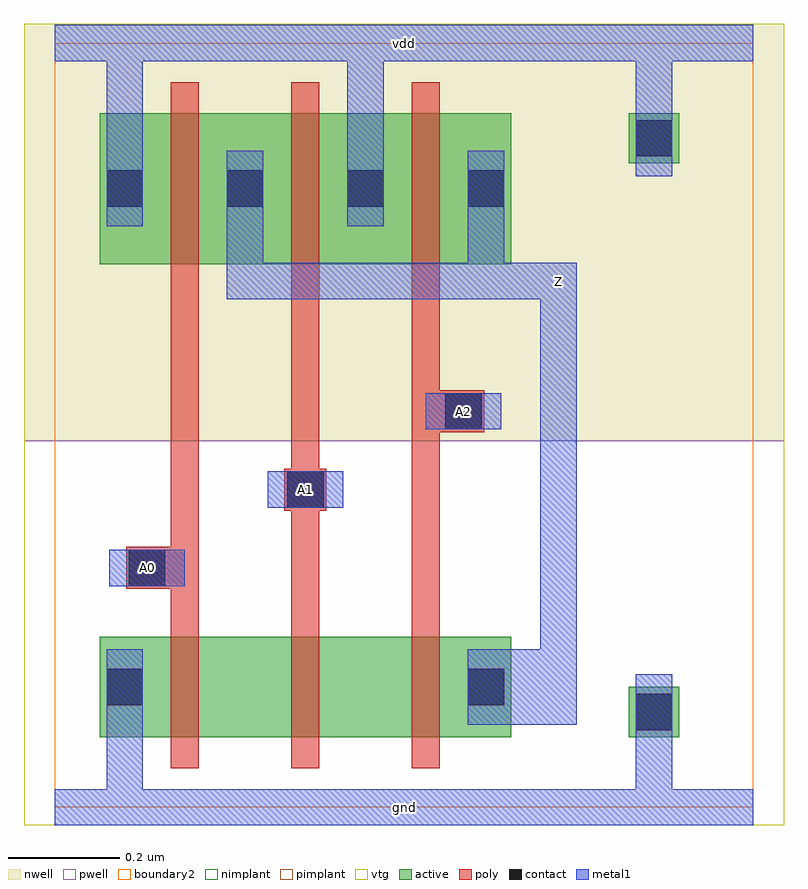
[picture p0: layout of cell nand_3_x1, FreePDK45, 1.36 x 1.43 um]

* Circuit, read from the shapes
.subckt nand_3_x1 A0 A1 A2 Z gnd vdd
M1 sram_1rw0r0w_8_256_freepdk45_nmos_m1_w0_180_sm1_dactive_3/A3 A0 gnd gnd nfet w=0.18u l=0.05u
M2 sram_1rw0r0w_8_256_freepdk45_nmos_m1_w0_180_sactive_dactive_4/A3 A1 sram_1rw0r0w_8_256_freepdk45_nmos_m1_w0_180_sm1_dactive_3/A3 gnd nfet w=0.18u l=0.05u
M3 Z A2 sram_1rw0r0w_8_256_freepdk45_nmos_m1_w0_180_sactive_dactive_4/A3 gnd nfet w=0.18u l=0.05u
M4 Z A0 vdd vdd pfet w=0.27u l=0.05u
M5 vdd A1 Z vdd pfet w=0.27u l=0.05u
M6 Z A2 vdd vdd pfet w=0.27u l=0.05u
.ends

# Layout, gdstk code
import gdstk
lib = gdstk.Library(unit=1e-6, precision=5e-10)
def R(c, l, rs):  # rectangles x0, y0, x1, y1
    for r in rs: c.add(gdstk.rectangle(r[:2], r[2:], *l))
def A(c, l, x, y, w, h, nx, ny, dx, dy):  # array of equal rectangles
    R(c, l, [(x+i*dx, y+j*dy, x+i*dx+w, y+j*dy+h) for i in range(nx) for j in range(ny)])
active = (1, 0)
pwell = (2, 0)
nwell = (3, 0)
nimplant = (4, 0)
pimplant = (5, 0)
vtg = (6, 0)
poly = (9, 0)
contact = (10, 0)
metal1 = (11, 0)
boundary2 = (239, 0)

sram_1rw0r0w_8_256_freep = lib.new_cell('sram_1rw0r0w_8_256_freepdk45_contact_11')
R(sram_1rw0r0w_8_256_freep, active, [(0,0.0225,0.09,0.1125)])
R(sram_1rw0r0w_8_256_freep, nwell, [(-0.055,-0.0325,0.145,0.1675)])
R(sram_1rw0r0w_8_256_freep, pimplant, [(0,0.0225,0.09,0.1125)])
R(sram_1rw0r0w_8_256_freep, contact, [(0.0125,0.035,0.0775,0.1)])
R(sram_1rw0r0w_8_256_freep, metal1, [(0.0125,0,0.0775,0.135)])
R(sram_1rw0r0w_8_256_freep, boundary2, [(-0.055,-0.0325,0.145,0.1675)])

c_sram_1rw0r0w_8_256_freep = lib.new_cell('sram_1rw0r0w_8_256_freepdk45_pmos_m1_w0_270_sm1_dm1')
R(c_sram_1rw0r0w_8_256_freep, active, [(0,0,0.305,0.27)])
R(c_sram_1rw0r0w_8_256_freep, nwell, [(-0.08,-0.08,0.385,0.35)])
R(c_sram_1rw0r0w_8_256_freep, pimplant, [(0,0,0.305,0.27)])
R(c_sram_1rw0r0w_8_256_freep, vtg, [(-0.08,-0.08,0.385,0.35)])
R(c_sram_1rw0r0w_8_256_freep, poly, [(0.1275,-0.055,0.1775,0.325), (0.1275,-0.055,0.1775,0.325)])
R(c_sram_1rw0r0w_8_256_freep, metal1, [(0.0125,0.0675,0.0775,0.2025), (0.2275,0.0675,0.2925,0.2025)])
R(c_sram_1rw0r0w_8_256_freep, boundary2, [(-0.08,-0.08,0.385,0.35)])
c_sram_1rw0r0w_8_256_freep.add(gdstk.Reference(sram_1rw0r0w_8_256_freep, (0,0.0675)))
c_sram_1rw0r0w_8_256_freep.add(gdstk.Reference(sram_1rw0r0w_8_256_freep, (0.215,0.0675)))
c_sram_1rw0r0w_8_256_freep.add(gdstk.Label('G', (0.1525,0.135), layer=9, texttype=0))
c_sram_1rw0r0w_8_256_freep.add(gdstk.Label('S', (0.045,0.135), layer=11, texttype=0))
c_sram_1rw0r0w_8_256_freep.add(gdstk.Label('A3', (0.26,0.135), layer=11, texttype=0))

c_sram_1rw0r0w_8_256_freep_ = lib.new_cell('sram_1rw0r0w_8_256_freepdk45_contact_10')
R(c_sram_1rw0r0w_8_256_freep_, active, [(0,0.0225,0.09,0.1125)])
R(c_sram_1rw0r0w_8_256_freep_, pwell, [(-0.055,-0.0325,0.145,0.1675)])
R(c_sram_1rw0r0w_8_256_freep_, nimplant, [(0,0.0225,0.09,0.1125)])
R(c_sram_1rw0r0w_8_256_freep_, contact, [(0.0125,0.035,0.0775,0.1)])
R(c_sram_1rw0r0w_8_256_freep_, metal1, [(0.0125,0,0.0775,0.135)])
R(c_sram_1rw0r0w_8_256_freep_, boundary2, [(-0.055,-0.0325,0.145,0.1675)])

c_sram_1rw0r0w_8_256_freep__ = lib.new_cell('sram_1rw0r0w_8_256_freepdk45_nmos_m1_w0_180_sm1_dactive')
R(c_sram_1rw0r0w_8_256_freep__, active, [(0,0,0.305,0.18), (0.215,0.045,0.305,0.135)])
R(c_sram_1rw0r0w_8_256_freep__, pwell, [(-0.08,-0.08,0.385,0.26)])
R(c_sram_1rw0r0w_8_256_freep__, nimplant, [(0,0,0.305,0.18)])
R(c_sram_1rw0r0w_8_256_freep__, vtg, [(-0.08,-0.08,0.385,0.26)])
R(c_sram_1rw0r0w_8_256_freep__, poly, [(0.1275,-0.055,0.1775,0.235), (0.1275,-0.055,0.1775,0.235)])
R(c_sram_1rw0r0w_8_256_freep__, metal1, [(0.0125,0.0225,0.0775,0.1575)])
R(c_sram_1rw0r0w_8_256_freep__, boundary2, [(-0.08,-0.08,0.385,0.26)])
c_sram_1rw0r0w_8_256_freep__.add(gdstk.Reference(c_sram_1rw0r0w_8_256_freep_, (0,0.0225)))
c_sram_1rw0r0w_8_256_freep__.add(gdstk.Label('G', (0.1525,0.09), layer=9, texttype=0))
c_sram_1rw0r0w_8_256_freep__.add(gdstk.Label('S', (0.045,0.09), layer=11, texttype=0))
c_sram_1rw0r0w_8_256_freep__.add(gdstk.Label('A3', (0.26,0.09), layer=1, texttype=0))

c_sram_1rw0r0w_8_256_freep___ = lib.new_cell('sram_1rw0r0w_8_256_freepdk45_nmos_m1_w0_180_sactive_dactive')
R(c_sram_1rw0r0w_8_256_freep___, active, [(0,0,0.305,0.18), (0,0.045,0.09,0.135), (0.215,0.045,0.305,0.135)])
R(c_sram_1rw0r0w_8_256_freep___, pwell, [(-0.08,-0.08,0.385,0.26)])
R(c_sram_1rw0r0w_8_256_freep___, nimplant, [(0,0,0.305,0.18)])
R(c_sram_1rw0r0w_8_256_freep___, vtg, [(-0.08,-0.08,0.385,0.26)])
R(c_sram_1rw0r0w_8_256_freep___, poly, [(0.1275,-0.055,0.1775,0.235), (0.1275,-0.055,0.1775,0.235)])
R(c_sram_1rw0r0w_8_256_freep___, boundary2, [(-0.08,-0.08,0.385,0.26)])
c_sram_1rw0r0w_8_256_freep___.add(gdstk.Label('G', (0.1525,0.09), layer=9, texttype=0))
c_sram_1rw0r0w_8_256_freep___.add(gdstk.Label('S', (0.045,0.09), layer=1, texttype=0))
c_sram_1rw0r0w_8_256_freep___.add(gdstk.Label('A3', (0.26,0.09), layer=1, texttype=0))

c_sram_1rw0r0w_8_256_freep____ = lib.new_cell('sram_1rw0r0w_8_256_freepdk45_nmos_m1_w0_180_sactive_dm1')
R(c_sram_1rw0r0w_8_256_freep____, active, [(0,0,0.305,0.18), (0,0.045,0.09,0.135)])
R(c_sram_1rw0r0w_8_256_freep____, pwell, [(-0.08,-0.08,0.385,0.26)])
R(c_sram_1rw0r0w_8_256_freep____, nimplant, [(0,0,0.305,0.18)])
R(c_sram_1rw0r0w_8_256_freep____, vtg, [(-0.08,-0.08,0.385,0.26)])
R(c_sram_1rw0r0w_8_256_freep____, poly, [(0.1275,-0.055,0.1775,0.235), (0.1275,-0.055,0.1775,0.235)])
R(c_sram_1rw0r0w_8_256_freep____, metal1, [(0.2275,0.0225,0.2925,0.1575)])
R(c_sram_1rw0r0w_8_256_freep____, boundary2, [(-0.08,-0.08,0.385,0.26)])
c_sram_1rw0r0w_8_256_freep____.add(gdstk.Reference(c_sram_1rw0r0w_8_256_freep_, (0.215,0.0225)))
c_sram_1rw0r0w_8_256_freep____.add(gdstk.Label('G', (0.1525,0.09), layer=9, texttype=0))
c_sram_1rw0r0w_8_256_freep____.add(gdstk.Label('S', (0.045,0.09), layer=1, texttype=0))
c_sram_1rw0r0w_8_256_freep____.add(gdstk.Label('A3', (0.26,0.09), layer=11, texttype=0))

c_sram_1rw0r0w_8_256_freep_____ = lib.new_cell('sram_1rw0r0w_8_256_freepdk45_contact_12')
R(c_sram_1rw0r0w_8_256_freep_____, active, [(0,0.0225,0.09,0.1125)])
R(c_sram_1rw0r0w_8_256_freep_____, nwell, [(-0.055,-0.0325,0.145,0.1675)])
R(c_sram_1rw0r0w_8_256_freep_____, nimplant, [(0,0.0225,0.09,0.1125)])
R(c_sram_1rw0r0w_8_256_freep_____, contact, [(0.0125,0.035,0.0775,0.1)])
R(c_sram_1rw0r0w_8_256_freep_____, metal1, [(0.0125,0,0.0775,0.135)])
R(c_sram_1rw0r0w_8_256_freep_____, boundary2, [(-0.055,-0.0325,0.145,0.1675)])

c_sram_1rw0r0w_8_256_freep______ = lib.new_cell('sram_1rw0r0w_8_256_freepdk45_contact_13')
R(c_sram_1rw0r0w_8_256_freep______, active, [(0,0.0225,0.09,0.1125)])
R(c_sram_1rw0r0w_8_256_freep______, pwell, [(-0.055,-0.0325,0.145,0.1675)])
R(c_sram_1rw0r0w_8_256_freep______, pimplant, [(0,0.0225,0.09,0.1125)])
R(c_sram_1rw0r0w_8_256_freep______, contact, [(0.0125,0.035,0.0775,0.1)])
R(c_sram_1rw0r0w_8_256_freep______, metal1, [(0.0125,0,0.0775,0.135)])
R(c_sram_1rw0r0w_8_256_freep______, boundary2, [(-0.055,-0.0325,0.145,0.1675)])

c_sram_1rw0r0w_8_256_freep_______ = lib.new_cell('sram_1rw0r0w_8_256_freepdk45_contact_14')
R(c_sram_1rw0r0w_8_256_freep_______, poly, [(0.03,0,0.105,0.075)])
R(c_sram_1rw0r0w_8_256_freep_______, contact, [(0.035,0.005,0.1,0.07)])
R(c_sram_1rw0r0w_8_256_freep_______, metal1, [(0,0.005,0.135,0.07)])
R(c_sram_1rw0r0w_8_256_freep_______, boundary2, [(0,0,0.135,0.075)])

nand_3_x1 = lib.new_cell('nand_3_x1')
R(nand_3_x1, pwell, [(-0.055,-0.0325,1.3025,0.655)])
R(nand_3_x1, nwell, [(-0.055,0.655,1.3025,1.4)])
R(nand_3_x1, vtg, [(-0.055,-0.0325,1.3025,0.655), (-0.055,0.655,1.3025,1.4)])
A(nand_3_x1, poly, 0.2075, 0.36, 0.05, 0.555, 3, 1, 0.215, 0)
R(nand_3_x1, poly, [(0.165,0.39,0.2075,0.465), (0.4225,0.53,0.4475,0.605), (0.6375,0.67,0.73,0.745)])
R(nand_3_x1, metal1, [(0,-0.0325,1.2475,0.0325), (0.0925,-0.0325,0.1575,0.1475), (1.0375,0,1.1025,0.17), (0.77,0.1475,0.9,0.2825), (0.8675,0.1475,0.9325,0.94), (0.0975,0.395,0.2325,0.46), (0.38,0.535,0.515,0.6), (0.6625,0.675,0.7975,0.74), (0.3075,0.9075,0.3725,0.9725), (0.34,0.9075,0.9,0.9725), (0.7375,0.9075,0.8025,0.9725), (0.77,0.9075,0.9,0.9725), (0.8675,0.9075,0.9325,0.9725), (0.3075,0.94,0.3725,1.105), (0.7375,0.94,0.8025,1.105), (0.0925,1.0375,0.1575,1.3975), (0.5225,1.0375,0.5875,1.3975), (1.0375,1.195,1.1025,1.365), (0,1.3325,1.2475,1.3975)])
R(nand_3_x1, boundary2, [(0,0,1.2475,1.365), (0,0,1.2475,1.365)])
nand_3_x1.add(gdstk.Reference(c_sram_1rw0r0w_8_256_freep, (0.08,0.97)))
nand_3_x1.add(gdstk.Reference(c_sram_1rw0r0w_8_256_freep, (0.295,0.97)))
nand_3_x1.add(gdstk.Reference(c_sram_1rw0r0w_8_256_freep, (0.51,0.97)))
nand_3_x1.add(gdstk.Reference(c_sram_1rw0r0w_8_256_freep__, (0.08,0.125)))
nand_3_x1.add(gdstk.Reference(c_sram_1rw0r0w_8_256_freep___, (0.295,0.125)))
nand_3_x1.add(gdstk.Reference(c_sram_1rw0r0w_8_256_freep____, (0.51,0.125)))
nand_3_x1.add(gdstk.Reference(c_sram_1rw0r0w_8_256_freep_____, (1.025,1.1275)))
nand_3_x1.add(gdstk.Reference(c_sram_1rw0r0w_8_256_freep______, (1.025,0.1025)))
nand_3_x1.add(gdstk.Reference(c_sram_1rw0r0w_8_256_freep_______, (0.0975,0.39)))
nand_3_x1.add(gdstk.Reference(c_sram_1rw0r0w_8_256_freep_______, (0.38,0.53)))
nand_3_x1.add(gdstk.Reference(c_sram_1rw0r0w_8_256_freep_______, (0.6625,0.67)))
nand_3_x1.add(gdstk.Label('A0', (0.165,0.4275), layer=11, texttype=0))
nand_3_x1.add(gdstk.Label('A1', (0.4475,0.5675), layer=11, texttype=0))
nand_3_x1.add(gdstk.Label('A2', (0.73,0.7075), layer=11, texttype=0))
nand_3_x1.add(gdstk.Label('Z', (0.9,0.94), layer=11, texttype=0))
nand_3_x1.add(gdstk.Label('gnd', (0.624,0), layer=11, texttype=0))
nand_3_x1.add(gdstk.Label('vdd', (0.624,1.365), layer=11, texttype=0))

lib.write_gds('nand_3_x1.gds')
